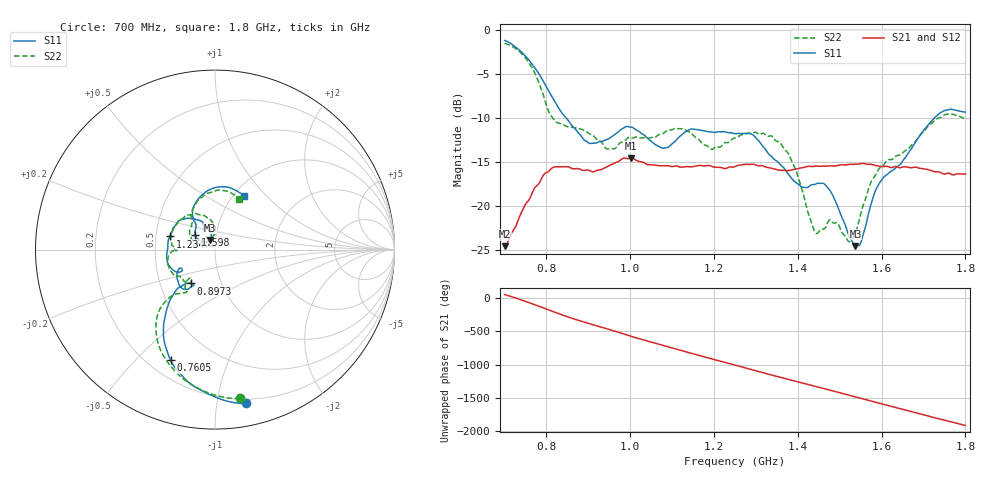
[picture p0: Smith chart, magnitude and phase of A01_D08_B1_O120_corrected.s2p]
! Created with skrf 1.9.0 (http://scikit-rf.org).
# Hz S RI R 50.0
!freq ReS11 ImS11 ReS21 ImS21 ReS12 ImS12 ReS22 ImS22
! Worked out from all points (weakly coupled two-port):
!   1601 points, 700 MHz to 1.8 GHz, reference 50 ohm
!   highest |S21| = -14.53 dB at 1.002 GHz (marker M1); lowest = -24.6 dB at 700 MHz (marker M2)
!   lowest |S11| = -24.5 dB at 1.537 GHz (marker M3), VSWR 1.13, Z = 47.1 + j5.01 ohm
!   |S11| at or under -10 dB: 847.5 MHz to 1.725 GHz (878 MHz wide, 68.2 % of centre)
!   |S22| runs from -24.1 to -1.5 dB; largest |S21 - S12| = 0.0037
!   S11 on the Smith chart (normalised r, x): 700 MHz: 0.17, -1.21; 760.5 MHz: 0.29, -0.64; 897.3 MHz: 0.72, -0.28; 1.234 GHz: 0.59, +0.09; 1.598 GHz: 0.79, +0.13; 1.8 GHz: 1.12, +0.76
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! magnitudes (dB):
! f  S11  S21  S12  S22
! 700 MHz  -1.2  -24.6  -24.3  -1.5
! 760.5 MHz  -3.6  -19.1  -19.0  -3.9
! 816.2 MHz  -7.8  -15.6  -15.7  -10.1
! 883.6 MHz  -12.1  -15.9  -15.8  -11.3
! 897.3 MHz  -12.7  -15.9  -16.0  -11.6
! 946.8 MHz  -12.4  -15.5  -15.5  -13.5
! 1.002 GHz  -11.0  -14.5  -14.6  -12.3
! 1.067 GHz  -13.2  -15.4  -15.3  -11.9
! 1.145 GHz  -11.2  -15.5  -15.5  -11.7
! 1.234 GHz  -11.7  -15.6  -15.6  -12.8
! 1.25 GHz  -11.8  -15.5  -15.4  -12.3
! 1.293 GHz  -11.9  -15.2  -15.3  -11.7
! 1.358 GHz  -15.3  -15.9  -15.9  -12.8
! 1.394 GHz  -17.3  -15.8  -15.8  -15.8
! 1.434 GHz  -17.6  -15.5  -15.5  -22.0
! 1.476 GHz  -18.2  -15.4  -15.5  -21.6
! 1.522 GHz  -23.3  -15.3  -15.3  -24.0
! 1.537 GHz  -24.5  -15.2  -15.2  -23.1
! 1.598 GHz  -17.2  -15.5  -15.5  -15.6
! 1.617 GHz  -16.2  -15.5  -15.5  -14.7
! 1.735 GHz  -9.6  -16.1  -16.2  -10.0
! 1.8 GHz  -9.3  -16.3  -16.3  -10.1
